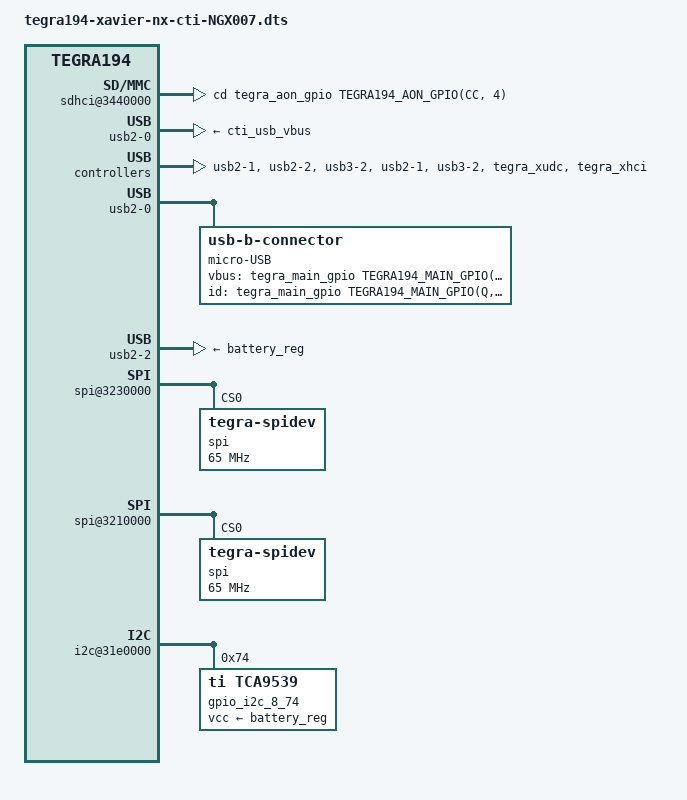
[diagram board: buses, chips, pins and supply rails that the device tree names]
/dts-v1/;
#include "tegra194-xavier-nx-cti-base.dtsi"

/{

	nvidia,dtsfilename = "tegra194-xavier-nx-cti-NGX007.dts";

	clocks-init {
		compatible = "nvidia,clocks-config";
		status = "okay";
		disable {
			clocks = <&aon_clks TEGRA194_CLK_PLLAON>,
				<&bpmp_clks TEGRA194_CLK_CAN1>,
				<&bpmp_clks TEGRA194_CLK_CAN2>;
		};
	};
	
	mttcan@c310000 {
		status = "okay";
	};

			
	sdhci@3440000 {
        cd-gpios = <&tegra_aon_gpio TEGRA194_AON_GPIO(CC, 4) 0>;
		status = "okay";
    };
	

	
	xusb_padctl@3520000 {
		pads {
			usb2 {
				lanes {
					usb2-0 {
						nvidia,function = "xusb";
						vbus-supply = <&cti_usb_vbus>;
						status = "okay";
					};
					usb2-1 {
						nvidia,function = "xusb";
						status = "okay";
					};
					usb2-2 {
						nvidia,function = "xusb";
						status = "okay";
					};
				};
			};
			usb3 {
				lanes {
					usb3-2 {
						nvidia,function = "xusb";
						status = "okay";
					};
				};
			};
		};
		ports {
			usb2-0 {
				mode = "otg";
				status = "okay";
				usb-role-switch;
				connector {
					compatible = "usb-b-connector", "gpio-usb-b-connector";
		            label = "micro-USB";
                    type = "micro";
                    vbus-gpios = <&tegra_main_gpio TEGRA194_MAIN_GPIO(Z, 1) GPIO_ACTIVE_HIGH>;
					id-gpios = <&tegra_main_gpio TEGRA194_MAIN_GPIO(Q, 1) GPIO_ACTIVE_HIGH>;
				};
			};
			usb2-1 {
				mode = "host";
				status = "okay";
			};
			usb2-2 {
				mode = "host";
				vbus-supply = <&battery_reg>;
				status = "okay";
			};
			usb3-2 {
				nvidia,usb2-companion = <0>;
				status = "okay";
			};
		};
	};
	tegra_xudc: xudc@3550000 {
		phys = <&{/xusb_padctl@3520000/pads/usb2/lanes/usb2-0}>,
				<&{/xusb_padctl@3520000/pads/usb3/lanes/usb3-2}>;
		phy-names = "usb2-0", "usb3-2";
		nvidia,xusb-padctl = <&xusb_padctl>;
		nvidia,boost_cpu_freq = <1200>;
		status = "okay";
	};

	tegra_xhci: xhci@3610000 {
		phys = <&{/xusb_padctl@3520000/pads/usb2/lanes/usb2-0}>,
			<&{/xusb_padctl@3520000/pads/usb2/lanes/usb2-1}>,
			<&{/xusb_padctl@3520000/pads/usb2/lanes/usb2-2}>,
			<&{/xusb_padctl@3520000/pads/usb3/lanes/usb3-2}>;
		phy-names = "usb2-0", "usb2-1", "usb2-2", "usb3-2";
		nvidia,xusb-padctl = <&xusb_padctl>;
		status = "okay";
	};
	
	spi@3230000{/*SPI3*/
		status = "okay";
		compatible = "nvidia,tegra186-spi";
		spi@0{
			compatible = "tegra-spidev";
			reg=<0>;
			spi-max-frequency = <65000000>;
				controller-data{
				nvidia,enable-hw-based-cs;
			};
		};

	};

	spi@3210000{/*SPI1*/
		status = "okay";
		compatible = "nvidia,tegra186-spi";
		spi@0 {
			compatible = "tegra-spidev";
			reg = <0x0>;
			spi-max-frequency = <65000000>;
				controller-data{
				nvidia,enable-hw-based-cs;
			};
		};
	};
	
	i2c@31e0000 {
		gpio_i2c_8_74: gpio@74 {
					status = "okay";
					compatible = "ti,tca9539";
					reg = <0x74>;
					gpio-controller;
					#gpio-cells = <2>;
					#address-cells = <1>;
					#size-cells = <0>;
					vcc-supply = <&battery_reg>;
		};
	};


};
